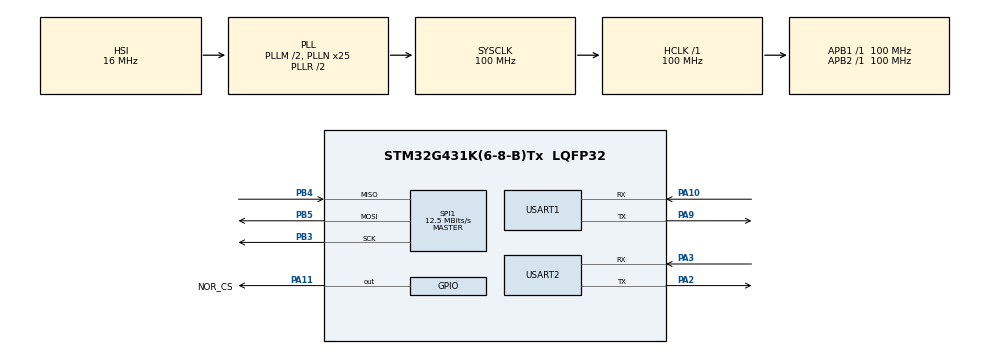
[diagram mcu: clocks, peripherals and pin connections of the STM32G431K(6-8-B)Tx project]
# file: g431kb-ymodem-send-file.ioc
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Dma.Request0=USART2_RX
Dma.Request1=USART2_TX
Dma.Request2=USART1_RX
Dma.Request3=USART1_TX
Dma.USART1_RX.2.Direction=DMA_PERIPH_TO_MEMORY
Dma.USART1_RX.2.EventEnable=DISABLE
Dma.USART1_RX.2.Instance=DMA1_Channel3
Dma.USART1_RX.2.MemDataAlignment=DMA_MDATAALIGN_BYTE
Dma.USART1_RX.2.MemInc=DMA_MINC_ENABLE
Dma.USART1_RX.2.Mode=DMA_NORMAL
Dma.USART1_RX.2.PeriphDataAlignment=DMA_PDATAALIGN_BYTE
Dma.USART1_RX.2.PeriphInc=DMA_PINC_DISABLE
Dma.USART1_RX.2.Polarity=HAL_DMAMUX_REQ_GEN_RISING
Dma.USART1_RX.2.Priority=DMA_PRIORITY_LOW
Dma.USART1_RX.2.RequestNumber=1
Dma.USART1_RX.2.SignalID=NONE
Dma.USART1_RX.2.SyncEnable=DISABLE
Dma.USART1_RX.2.SyncPolarity=HAL_DMAMUX_SYNC_NO_EVENT
Dma.USART1_RX.2.SyncRequestNumber=1
Dma.USART1_RX.2.SyncSignalID=NONE
Dma.USART1_TX.3.Direction=DMA_MEMORY_TO_PERIPH
Dma.USART1_TX.3.EventEnable=DISABLE
Dma.USART1_TX.3.Instance=DMA1_Channel4
Dma.USART1_TX.3.MemDataAlignment=DMA_MDATAALIGN_BYTE
Dma.USART1_TX.3.MemInc=DMA_MINC_ENABLE
Dma.USART1_TX.3.Mode=DMA_NORMAL
Dma.USART1_TX.3.PeriphDataAlignment=DMA_PDATAALIGN_BYTE
Dma.USART1_TX.3.PeriphInc=DMA_PINC_DISABLE
Dma.USART1_TX.3.Polarity=HAL_DMAMUX_REQ_GEN_RISING
Dma.USART1_TX.3.Priority=DMA_PRIORITY_LOW
Dma.USART1_TX.3.RequestNumber=1
Dma.USART1_TX.3.SignalID=NONE
Dma.USART1_TX.3.SyncEnable=DISABLE
Dma.USART1_TX.3.SyncPolarity=HAL_DMAMUX_SYNC_NO_EVENT
Dma.USART1_TX.3.SyncRequestNumber=1
Dma.USART1_TX.3.SyncSignalID=NONE
Dma.USART2_RX.0.Direction=DMA_PERIPH_TO_MEMORY
Dma.USART2_RX.0.EventEnable=DISABLE
Dma.USART2_RX.0.Instance=DMA1_Channel1
Dma.USART2_RX.0.MemDataAlignment=DMA_MDATAALIGN_BYTE
Dma.USART2_RX.0.MemInc=DMA_MINC_ENABLE
Dma.USART2_RX.0.Mode=DMA_NORMAL
Dma.USART2_RX.0.PeriphDataAlignment=DMA_PDATAALIGN_BYTE
Dma.USART2_RX.0.PeriphInc=DMA_PINC_DISABLE
Dma.USART2_RX.0.Polarity=HAL_DMAMUX_REQ_GEN_RISING
Dma.USART2_RX.0.Priority=DMA_PRIORITY_LOW
Dma.USART2_RX.0.RequestNumber=1
Dma.USART2_RX.0.SignalID=NONE
Dma.USART2_RX.0.SyncEnable=DISABLE
Dma.USART2_RX.0.SyncPolarity=HAL_DMAMUX_SYNC_NO_EVENT
Dma.USART2_RX.0.SyncRequestNumber=1
Dma.USART2_RX.0.SyncSignalID=NONE
Dma.USART2_TX.1.Direction=DMA_MEMORY_TO_PERIPH
Dma.USART2_TX.1.EventEnable=DISABLE
Dma.USART2_TX.1.Instance=DMA1_Channel2
Dma.USART2_TX.1.MemDataAlignment=DMA_MDATAALIGN_BYTE
Dma.USART2_TX.1.MemInc=DMA_MINC_ENABLE
Dma.USART2_TX.1.Mode=DMA_NORMAL
Dma.USART2_TX.1.PeriphDataAlignment=DMA_PDATAALIGN_BYTE
Dma.USART2_TX.1.PeriphInc=DMA_PINC_DISABLE
Dma.USART2_TX.1.Polarity=HAL_DMAMUX_REQ_GEN_RISING
Dma.USART2_TX.1.Priority=DMA_PRIORITY_LOW
Dma.USART2_TX.1.RequestNumber=1
Dma.USART2_TX.1.SignalID=NONE
Dma.USART2_TX.1.SyncEnable=DISABLE
Dma.USART2_TX.1.SyncPolarity=HAL_DMAMUX_SYNC_NO_EVENT
Dma.USART2_TX.1.SyncRequestNumber=1
Dma.USART2_TX.1.SyncSignalID=NONE
Mcu.Family=STM32G4
Mcu.Name=STM32G431K(6-8-B)Tx
Mcu.Package=LQFP32
NVIC.DMA1_Channel1_IRQn=true\:5\:0\:true\:false\:true\:false\:true\:true
NVIC.DMA1_Channel2_IRQn=true\:5\:0\:true\:false\:true\:false\:true\:true
NVIC.DMA1_Channel3_IRQn=true\:5\:0\:true\:false\:true\:false\:true\:true
NVIC.DMA1_Channel4_IRQn=true\:5\:0\:true\:false\:true\:false\:true\:true
NVIC.PriorityGroup=NVIC_PRIORITYGROUP_4
NVIC.SPI1_IRQn=true\:0\:0\:false\:false\:true\:true\:true\:true
NVIC.TIM1_TRG_COM_TIM17_IRQn=true\:15\:0\:false\:false\:true\:false\:true\:true
NVIC.TimeBase=TIM1_TRG_COM_TIM17_IRQn
NVIC.TimeBaseIP=TIM17
NVIC.USART1_IRQn=true\:5\:0\:true\:false\:true\:true\:true\:true
NVIC.USART2_IRQn=true\:5\:0\:true\:false\:true\:true\:true\:true
PA10.Mode=Asynchronous
PA10.Signal=USART1_RX
PA11.GPIO_Label=NOR_CS
PA11.GPIO_Speed=GPIO_SPEED_FREQ_VERY_HIGH
PA11.PinState=GPIO_PIN_SET
PA11.Signal=GPIO_Output
PA13.Mode=Serial_Wire
PA13.Signal=SYS_JTMS-SWDIO
PA14.Mode=Serial_Wire
PA14.Signal=SYS_JTCK-SWCLK
PA2.Mode=Asynchronous
PA2.Signal=USART2_TX
PA3.Mode=Asynchronous
PA3.Signal=USART2_RX
PA9.Mode=Asynchronous
PA9.Signal=USART1_TX
PB3.Mode=Full_Duplex_Master
PB3.Signal=SPI1_SCK
PB4.Mode=Full_Duplex_Master
PB4.Signal=SPI1_MISO
PB5.Mode=Full_Duplex_Master
PB5.Signal=SPI1_MOSI
ProjectManager.HeapSize=0x200
ProjectManager.StackSize=0x400
ProjectManager.TargetToolchain=STM32CubeIDE
RCC.ADC12Freq_Value=100000000
RCC.AHBFreq_Value=100000000
RCC.APB1Freq_Value=100000000
RCC.APB1TimFreq_Value=100000000
RCC.APB2Freq_Value=100000000
RCC.APB2TimFreq_Value=100000000
RCC.CortexFreq_Value=100000000
RCC.EXTERNAL_CLOCK_VALUE=12288000
RCC.HCLKFreq_Value=100000000
RCC.HSE_VALUE=8000000
RCC.HSI48_VALUE=48000000
RCC.HSI_VALUE=16000000
RCC.LSE_VALUE=32768
RCC.PLLM=RCC_PLLM_DIV2
RCC.PLLN=25
RCC.SYSCLKFreq_VALUE=100000000
RCC.SYSCLKSource=RCC_SYSCLKSOURCE_PLLCLK
RCC.USBFreq_Value=100000000
RCC.VCOOutputFreq_Value=200000000
SPI1.BaudRatePrescaler=SPI_BAUDRATEPRESCALER_8
SPI1.CalculateBaudRate=12.5 MBits/s
SPI1.DataSize=SPI_DATASIZE_8BIT
SPI1.Direction=SPI_DIRECTION_2LINES
SPI1.Mode=SPI_MODE_MASTER
SPI1.VirtualType=VM_MASTER
TIM6.Prescaler=99
USART1.VirtualMode-Asynchronous=VM_ASYNC
USART2.VirtualMode-Asynchronous=VM_ASYNC
VP_SYS_VS_DBSignals.Mode=DisableDeadBatterySignals
VP_SYS_VS_tim17.Mode=TIM17
VP_TIM6_VS_ClockSourceINT.Mode=Enable_Timer
board=custom

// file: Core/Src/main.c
/* USER CODE BEGIN Header */
/**
  ******************************************************************************
  * @file           : main.c
  * @brief          : Main program body
  ******************************************************************************
  * @attention
  *
  * Copyright (c) 2025 STMicroelectronics.
  * All rights reserved.
  *
  * This software is licensed under terms that can be found in the LICENSE file
  * in the root directory of this software component.
  * If no LICENSE file comes with this software, it is provided AS-IS.
  *
  ******************************************************************************
  */
/* USER CODE END Header */
#include "main.h"

/* USER CODE BEGIN Includes */
#include <stdint.h>
#include <stdbool.h>
#include <stdio.h>

#include "ymodem.h"
#include "nor.h"
#include "lfs.h"

#include "FreeRTOS.h"
#include "task.h"
#include "semphr.h"
#include "queue.h"
#include "timers.h"
/* USER CODE END Includes */

/* USER CODE BEGIN PTD */
typedef struct{
	bool fileIsOpen;

	ymodem_t Ymodem;

	uint32_t fSize;
	uint32_t fReceived;

	lfs_file_t lFile;

	TaskHandle_t task;
	QueueHandle_t RxQueue;
	SemaphoreHandle_t TxSemaphore;
	TimerHandle_t RstTimer;
	bool started;
}receive_file_t;

typedef struct{
	uint8_t raw[64];
	uint16_t len;
}rec_data_t;
/* USER CODE END PTD */

SPI_HandleTypeDef hspi1;

TIM_HandleTypeDef htim6;

UART_HandleTypeDef huart1;
UART_HandleTypeDef huart2;
DMA_HandleTypeDef hdma_usart1_rx;
DMA_HandleTypeDef hdma_usart1_tx;
DMA_HandleTypeDef hdma_usart2_rx;
DMA_HandleTypeDef hdma_usart2_tx;

/* USER CODE BEGIN PV */
receive_file_t _RecFile = {0};
uint8_t data;
uint32_t recBytes = 0;

nor_t NORH;
lfs_t LFSH;
struct lfs_config Lfs_Config;
/* USER CODE END PV */

void SystemClock_Config(void);
static void MX_GPIO_Init(void);
static void MX_DMA_Init(void);
static void MX_USART1_UART_Init(void);
static void MX_USART2_UART_Init(void);
static void MX_SPI1_Init(void);
static void MX_TIM6_Init(void);

/* USER CODE BEGIN 0 */

/*
 * UART Callbacks
 */
/************************************************
 ********* 		UART CALLBACKS
 ************************************************/
void HAL_UART_TxCpltCallback(UART_HandleTypeDef *huart){
	if (huart->Instance == USART1){
		BaseType_t taskWoken = pdFALSE;

		xSemaphoreGiveFromISR(_RecFile.TxSemaphore, &taskWoken);
	}
	else if (huart->Instance == USART2){

	}
}

void HAL_UART_RxCpltCallback(UART_HandleTypeDef *huart){
	if (huart->Instance == USART1){
		BaseType_t taskWoken = pdFALSE;

		if (_RecFile.started == false){
			return;
		}
		if (xQueueSendFromISR(_RecFile.RxQueue, &data, &taskWoken) != pdTRUE){
			// lost byte
		}
		HAL_UART_Receive_DMA(huart, &data, sizeof(data));
		recBytes++;
	}
	else if (huart->Instance == USART2){

	}
}

/************************************************
 ********* 		YMODEM LIBRARY CALLBACKS
 ************************************************/
ymodem_err_e ymodem_FileCallback(ymodem_t *ymodem, ymodem_file_cb_e e, uint8_t *data, uint32_t len){
	char *FileName;
	uint32_t i;

	switch (e){
	case YMODEM_FILE_CB_NAME:
		if (_RecFile.fileIsOpen == false){
			// When we receive a File, data contains the filename
			_RecFile.fileIsOpen = true;
			_RecFile.fSize = len;
			_RecFile.fReceived = 0;
			FileName = (char*)data;
			printf(">> Receiving File request: \r\n");
			printf(">> \tFilename: %s\r\n", FileName);
			printf(">> \tLength: %lu\r\n", len);

			lfs_file_open(&LFSH, &_RecFile.lFile, FileName, LFS_O_CREAT | LFS_O_RDWR);
		}
		break;

	case YMODEM_FILE_CB_DATA:
		printf(">> Received %lu bytes from Host.\r\n\t", len);
		_RecFile.fReceived += len;
		// Check if received chunk will overflow total file len
		if (_RecFile.fReceived > _RecFile.fSize){
			// fix the chunck length and ignore unused bytes
			_RecFile.fReceived -= len;
			len = _RecFile.fSize - _RecFile.fReceived;
			_RecFile.fReceived += len;
		}
		for (i=0 ; i<len ; i++){
			if (i > 0 && i%8 == 0){
				printf("\r\n\t");
			}
			printf("%02X ", data[i]);
		}
		printf("\r\n");

		lfs_file_write(&LFSH, &_RecFile.lFile, data, len);
		break;

	case YMODEM_FILE_CB_END:
	case YMODEM_FILE_CB_ABORTED:
		if (_RecFile.fileIsOpen == true){
			printf(">> File is closed.\r\n");
			_RecFile.fileIsOpen  = false;

			lfs_file_close(&LFSH, &_RecFile.lFile);
		}
		break;
	}

	return YMODEM_OK;
}

/************************************************
 ********* 		RESET Timer
 ************************************************/
void _RecFile_Abort_Timeout(TimerHandle_t xTimer){
	ymodem_Reset(&_RecFile.Ymodem);
}

/************************************************
 ********* 		SERIAL TRANSMIT WRAPPER
 ************************************************/
uint8_t _uart_tx(uint8_t *data, uint32_t len){
	HAL_UART_Transmit(&huart1, data, len, 100);
	return 0;
}

/************************************************
 ********* 		INITIALIZE FLASH NOR
 ************************************************/
void _w25_assert(){
	HAL_GPIO_WritePin(NOR_CS_GPIO_Port, NOR_CS_Pin, GPIO_PIN_RESET);
}

void _w25_deassert(){
	HAL_GPIO_WritePin(NOR_CS_GPIO_Port, NOR_CS_Pin, GPIO_PIN_SET);
}

void _w25_spi_send(uint8_t* data, uint32_t len){
	if (HAL_SPI_Transmit(&hspi1, data, len, 100) != HAL_OK){
		return;
	}
}

void _w25_spi_receive(uint8_t* data, uint32_t len){
	if (HAL_SPI_Receive(&hspi1, data, len, 100) != HAL_OK){
		return;
	}
}

void _w25_delay_us(uint32_t us){
	uint32_t a;

	__HAL_TIM_SET_AUTORELOAD(&htim6, UINT16_MAX);
	HAL_TIM_Base_Start(&htim6);
	do {
		__HAL_TIM_SET_COUNTER(&htim6, 0);
		if (us >= UINT16_MAX){
			a = UINT16_MAX - 1;
		}
		else{
			a = us;
		}
		while(__HAL_TIM_GET_COUNTER(&htim6) < a);

		us -= a;
	}while (us > 0);
	HAL_TIM_Base_Stop(&htim6);

}

void W25_Init(){
	NORH.config.CsAssert = _w25_assert;
	NORH.config.CsDeassert = _w25_deassert;
	NORH.config.DelayUs = _w25_delay_us;
	NORH.config.MutexLockFxn = NULL;
	NORH.config.MutexUnlockFxn = NULL;
	NORH.config.SpiRxFxn = _w25_spi_receive;
	NORH.config.SpiTxFxn = _w25_spi_send;

	assert(NOR_Init(&NORH) == NOR_OK);
}

/************************************************
 ********* 		INITIALIZE LITTLEFS
 ************************************************/
int __read_sector(const struct lfs_config *c, lfs_block_t block,
                  lfs_off_t off, void *buffer, lfs_size_t size){
    uint32_t address = (block * c->block_size) + off;

    if (NOR_ReadBytes(&NORH, (uint8_t*)buffer, address, size) != NOR_OK){
    	return -1;
    }

	return LFS_ERR_OK;
}

int __write_sector(const struct lfs_config *c, lfs_block_t block,
            lfs_off_t off, const void *buffer, lfs_size_t size){
    uint32_t address = (block * c->block_size) + off;

    if (NOR_WriteBytes(&NORH, (uint8_t*)buffer, address, size) != NOR_OK){
    	return -1;
    }

	return LFS_ERR_OK;
}

int __erase_sector(const struct lfs_config *c, lfs_block_t block){
    if (NOR_EraseSector(&NORH, block) !=  NOR_OK){
    	return -1;
    }

	return LFS_ERR_OK;
}

int __sync_sector(const struct lfs_config *c){
    return 0;
}

void LittleFs_Init(){
    enum lfs_error err;

    Lfs_Config.read = __read_sector;
    Lfs_Config.prog = __write_sector;
    Lfs_Config.erase = __erase_sector;
    Lfs_Config.sync = __sync_sector;

    Lfs_Config.block_size = NORH.info.u16SectorSize;
    Lfs_Config.block_count = NORH.info.u32SectorCount;
    Lfs_Config.lookahead_size = NORH.info.u16SectorSize/8;
    Lfs_Config.read_size = 64;
    Lfs_Config.prog_size = 64;
    Lfs_Config.cache_size = 64;
    Lfs_Config.block_cycles = 256;

    err = lfs_mount(&LFSH, &Lfs_Config);
    if (err != LFS_ERR_OK){
    	err = lfs_format(&LFSH, &Lfs_Config);
		err = lfs_mount(&LFSH, &Lfs_Config);
    }
    assert (err == LFS_ERR_OK);
}

/************************************************
 ********* 		FILE RECEIVE TASK
 ************************************************/
void task_receive_file(void *pvParams){
	uint8_t C = 'C';
	uint8_t RecData;
	ymodem_err_e ymodemRet;
	BaseType_t queueRet;
	bool readFile = false;
	char fileToRead[32] = "message.txt";

 	printf(">> Preparing YMODEM Application.\r\n");
	_RecFile.TxSemaphore = xSemaphoreCreateBinary();
	_RecFile.RxQueue = xQueueCreate(512, sizeof(data));
	_RecFile.RstTimer = xTimerCreate("Reset Ymodem",
									 pdMS_TO_TICKS(1500),
									 pdFALSE,
									 NULL,
									 _RecFile_Abort_Timeout);
	ymodem_Init(&_RecFile.Ymodem, _uart_tx);
	_RecFile.started = true;
	HAL_UART_Receive_DMA(&huart1, &data, sizeof(data));
	printf(">> YMODEM is ready to receive Files.\r\n");
	while(1) {
		queueRet = xQueueReceive(_RecFile.RxQueue, &RecData, pdMS_TO_TICKS(1000));
		if (queueRet == pdTRUE){
			if (xTimerIsTimerActive(_RecFile.RstTimer) != pdFALSE){
				xTimerStart(_RecFile.RstTimer, 0);
			}
			else{
				xTimerReset(_RecFile.RstTimer, 0);
			}

			ymodemRet = ymodem_ReceiveByte(&_RecFile.Ymodem, RecData);
			switch (ymodemRet){
			case YMODEM_OK:

				break;
			case YMODEM_TX_PENDING:

				break;
			case YMODEM_ABORTED:
				ymodem_Reset(&_RecFile.Ymodem);
				break;
			case YMODEM_WRITE_ERR:
				ymodem_Reset(&_RecFile.Ymodem);
				break;
			case YMODEM_SIZE_ERR:
				ymodem_Reset(&_RecFile.Ymodem);
				break;
			case YMODEM_COMPLETE:
				ymodem_Reset(&_RecFile.Ymodem);
				break;
			}
		}
		else{
			_uart_tx(&C, 1);
		}
		if (readFile == true){
			lfs_file_t file;
			lfs_size_t rd;
			char temp[128];

			readFile = false;
			lfs_file_open(&LFSH, &file, fileToRead, LFS_O_RDONLY);
			printf(">> Reading data from file %s\r\n ", fileToRead);
			do{
				rd = lfs_file_read(&LFSH, &file, temp, 128);
				for (int i=0 ; i<rd ; i++){
					printf("%c", temp[i]);
					if (temp[i] == '\n'){
						printf("\r");
					}
				}
			}while (rd>0);
			lfs_file_close(&LFSH, &file);
		}
	}
}

/* USER CODE END 0 */

int main(void)
{

  /* MCU Configuration--------------------------------------------------------*/

  /* Reset of all peripherals, Initializes the Flash interface and the Systick. */
  HAL_Init();

  /* Configure the system clock */
  SystemClock_Config();

  /* Initialize all configured peripherals */
  MX_GPIO_Init();
  MX_DMA_Init();
  MX_USART1_UART_Init();
  MX_USART2_UART_Init();
  MX_SPI1_Init();
  MX_TIM6_Init();
  /* USER CODE BEGIN 2 */
  HAL_Delay(200);
  printf(">> Starting YMODEM Application\r\n");
  xTaskCreate(task_receive_file, "File Receive", 512, NULL, 1, NULL);

  printf(">> Starting LittleFs File System.\r\n");
  W25_Init();
  LittleFs_Init();

  printf(">> Starting RTOS Scheduler.\r\n");
  vTaskStartScheduler();
  /* USER CODE END 2 */

  /* Infinite loop */
  while (1)
  {

  }
}

void SystemClock_Config(void)
{
  RCC_OscInitTypeDef RCC_OscInitStruct = {0};
  RCC_ClkInitTypeDef RCC_ClkInitStruct = {0};

  /** Configure the main internal regulator output voltage
  */
  HAL_PWREx_ControlVoltageScaling(PWR_REGULATOR_VOLTAGE_SCALE1);

  /** Initializes the RCC Oscillators according to the specified parameters
  * in the RCC_OscInitTypeDef structure.
  */
  RCC_OscInitStruct.OscillatorType = RCC_OSCILLATORTYPE_HSI;
  RCC_OscInitStruct.HSIState = RCC_HSI_ON;
  RCC_OscInitStruct.HSICalibrationValue = RCC_HSICALIBRATION_DEFAULT;
  RCC_OscInitStruct.PLL.PLLState = RCC_PLL_ON;
  RCC_OscInitStruct.PLL.PLLSource = RCC_PLLSOURCE_HSI;
  RCC_OscInitStruct.PLL.PLLM = RCC_PLLM_DIV2;
  RCC_OscInitStruct.PLL.PLLN = 25;
  RCC_OscInitStruct.PLL.PLLP = RCC_PLLP_DIV2;
  RCC_OscInitStruct.PLL.PLLQ = RCC_PLLQ_DIV2;
  RCC_OscInitStruct.PLL.PLLR = RCC_PLLR_DIV2;
  if (HAL_RCC_OscConfig(&RCC_OscInitStruct) != HAL_OK)
  {
    Error_Handler();
  }

  /** Initializes the CPU, AHB and APB buses clocks
  */
  RCC_ClkInitStruct.ClockType = RCC_CLOCKTYPE_HCLK|RCC_CLOCKTYPE_SYSCLK
                              |RCC_CLOCKTYPE_PCLK1|RCC_CLOCKTYPE_PCLK2;
  RCC_ClkInitStruct.SYSCLKSource = RCC_SYSCLKSOURCE_PLLCLK;
  RCC_ClkInitStruct.AHBCLKDivider = RCC_SYSCLK_DIV1;
  RCC_ClkInitStruct.APB1CLKDivider = RCC_HCLK_DIV1;
  RCC_ClkInitStruct.APB2CLKDivider = RCC_HCLK_DIV1;

  if (HAL_RCC_ClockConfig(&RCC_ClkInitStruct, FLASH_LATENCY_3) != HAL_OK)
  {
    Error_Handler();
  }
}

static void MX_SPI1_Init(void)
{

  /* SPI1 parameter configuration*/
  hspi1.Instance = SPI1;
  hspi1.Init.Mode = SPI_MODE_MASTER;
  hspi1.Init.Direction = SPI_DIRECTION_2LINES;
  hspi1.Init.DataSize = SPI_DATASIZE_8BIT;
  hspi1.Init.CLKPolarity = SPI_POLARITY_LOW;
  hspi1.Init.CLKPhase = SPI_PHASE_1EDGE;
  hspi1.Init.NSS = SPI_NSS_SOFT;
  hspi1.Init.BaudRatePrescaler = SPI_BAUDRATEPRESCALER_8;
  hspi1.Init.FirstBit = SPI_FIRSTBIT_MSB;
  hspi1.Init.TIMode = SPI_TIMODE_DISABLE;
  hspi1.Init.CRCCalculation = SPI_CRCCALCULATION_DISABLE;
  hspi1.Init.CRCPolynomial = 7;
  hspi1.Init.CRCLength = SPI_CRC_LENGTH_DATASIZE;
  hspi1.Init.NSSPMode = SPI_NSS_PULSE_ENABLE;
  if (HAL_SPI_Init(&hspi1) != HAL_OK)
  {
    Error_Handler();
  }

}

static void MX_TIM6_Init(void)
{

  TIM_MasterConfigTypeDef sMasterConfig = {0};

  htim6.Instance = TIM6;
  htim6.Init.Prescaler = 99;
  htim6.Init.CounterMode = TIM_COUNTERMODE_UP;
  htim6.Init.Period = 65535;
  htim6.Init.AutoReloadPreload = TIM_AUTORELOAD_PRELOAD_DISABLE;
  if (HAL_TIM_Base_Init(&htim6) != HAL_OK)
  {
    Error_Handler();
  }
  sMasterConfig.MasterOutputTrigger = TIM_TRGO_RESET;
  sMasterConfig.MasterSlaveMode = TIM_MASTERSLAVEMODE_DISABLE;
  if (HAL_TIMEx_MasterConfigSynchronization(&htim6, &sMasterConfig) != HAL_OK)
  {
    Error_Handler();
  }

}

static void MX_USART1_UART_Init(void)
{

  huart1.Instance = USART1;
  huart1.Init.BaudRate = 115200;
  huart1.Init.WordLength = UART_WORDLENGTH_8B;
  huart1.Init.StopBits = UART_STOPBITS_1;
  huart1.Init.Parity = UART_PARITY_NONE;
  huart1.Init.Mode = UART_MODE_TX_RX;
  huart1.Init.HwFlowCtl = UART_HWCONTROL_NONE;
  huart1.Init.OverSampling = UART_OVERSAMPLING_16;
  huart1.Init.OneBitSampling = UART_ONE_BIT_SAMPLE_DISABLE;
  huart1.Init.ClockPrescaler = UART_PRESCALER_DIV1;
  huart1.AdvancedInit.AdvFeatureInit = UART_ADVFEATURE_NO_INIT;
  if (HAL_UART_Init(&huart1) != HAL_OK)
  {
    Error_Handler();
  }
  if (HAL_UARTEx_SetTxFifoThreshold(&huart1, UART_TXFIFO_THRESHOLD_1_8) != HAL_OK)
  {
    Error_Handler();
  }
  if (HAL_UARTEx_SetRxFifoThreshold(&huart1, UART_RXFIFO_THRESHOLD_1_8) != HAL_OK)
  {
    Error_Handler();
  }
  if (HAL_UARTEx_DisableFifoMode(&huart1) != HAL_OK)
  {
    Error_Handler();
  }

}

static void MX_USART2_UART_Init(void)
{

  huart2.Instance = USART2;
  huart2.Init.BaudRate = 115200;
  huart2.Init.WordLength = UART_WORDLENGTH_8B;
  huart2.Init.StopBits = UART_STOPBITS_1;
  huart2.Init.Parity = UART_PARITY_NONE;
  huart2.Init.Mode = UART_MODE_TX_RX;
  huart2.Init.HwFlowCtl = UART_HWCONTROL_NONE;
  huart2.Init.OverSampling = UART_OVERSAMPLING_16;
  huart2.Init.OneBitSampling = UART_ONE_BIT_SAMPLE_DISABLE;
  huart2.Init.ClockPrescaler = UART_PRESCALER_DIV1;
  huart2.AdvancedInit.AdvFeatureInit = UART_ADVFEATURE_NO_INIT;
  if (HAL_UART_Init(&huart2) != HAL_OK)
  {
    Error_Handler();
  }
  if (HAL_UARTEx_SetTxFifoThreshold(&huart2, UART_TXFIFO_THRESHOLD_1_8) != HAL_OK)
  {
    Error_Handler();
  }
  if (HAL_UARTEx_SetRxFifoThreshold(&huart2, UART_RXFIFO_THRESHOLD_1_8) != HAL_OK)
  {
    Error_Handler();
  }
  if (HAL_UARTEx_DisableFifoMode(&huart2) != HAL_OK)
  {
    Error_Handler();
  }

}

static void MX_DMA_Init(void)
{

  /* DMA controller clock enable */
  __HAL_RCC_DMAMUX1_CLK_ENABLE();
  __HAL_RCC_DMA1_CLK_ENABLE();

  /* DMA interrupt init */
  /* DMA1_Channel1_IRQn interrupt configuration */
  HAL_NVIC_SetPriority(DMA1_Channel1_IRQn, 5, 0);
  HAL_NVIC_EnableIRQ(DMA1_Channel1_IRQn);
  /* DMA1_Channel2_IRQn interrupt configuration */
  HAL_NVIC_SetPriority(DMA1_Channel2_IRQn, 5, 0);
  HAL_NVIC_EnableIRQ(DMA1_Channel2_IRQn);
  /* DMA1_Channel3_IRQn interrupt configuration */
  HAL_NVIC_SetPriority(DMA1_Channel3_IRQn, 5, 0);
  HAL_NVIC_EnableIRQ(DMA1_Channel3_IRQn);
  /* DMA1_Channel4_IRQn interrupt configuration */
  HAL_NVIC_SetPriority(DMA1_Channel4_IRQn, 5, 0);
  HAL_NVIC_EnableIRQ(DMA1_Channel4_IRQn);

}

static void MX_GPIO_Init(void)
{
  GPIO_InitTypeDef GPIO_InitStruct = {0};

  /* GPIO Ports Clock Enable */
  __HAL_RCC_GPIOA_CLK_ENABLE();
  __HAL_RCC_GPIOB_CLK_ENABLE();

  /*Configure GPIO pin Output Level */
  HAL_GPIO_WritePin(NOR_CS_GPIO_Port, NOR_CS_Pin, GPIO_PIN_SET);

  /*Configure GPIO pin : NOR_CS_Pin */
  GPIO_InitStruct.Pin = NOR_CS_Pin;
  GPIO_InitStruct.Mode = GPIO_MODE_OUTPUT_PP;
  GPIO_InitStruct.Pull = GPIO_NOPULL;
  GPIO_InitStruct.Speed = GPIO_SPEED_FREQ_VERY_HIGH;
  HAL_GPIO_Init(NOR_CS_GPIO_Port, &GPIO_InitStruct);

}

/* USER CODE BEGIN 4 */
int __io_putchar (int ch){
	HAL_UART_Transmit(&huart2, (uint8_t*)&ch, 1, 10);
	return ch;
}
/* USER CODE END 4 */

void HAL_TIM_PeriodElapsedCallback(TIM_HandleTypeDef *htim)
{
  if (htim->Instance == TIM17)
  {
    HAL_IncTick();
  }
}

void Error_Handler(void)
{
  __disable_irq();
  while (1)
  {
  }
}
